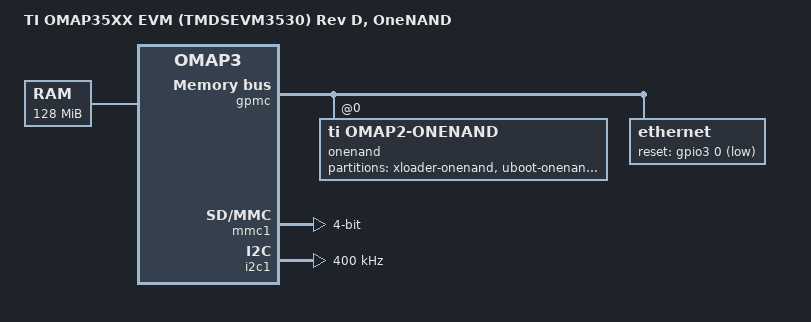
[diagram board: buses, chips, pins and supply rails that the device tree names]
// SPDX-License-Identifier: GPL-2.0-only
/*
 * TI OMAP35x EVM (TMDSEVM3530), as found on this unit:
 *   - main board OMAP-EVM-MB-1518 Rev D ("Gen 1": LAN9115 Ethernet,
 *     no on-board EHCI host port: that port lived on the multimedia
 *     daughter card until Rev E)
 *   - processor module O3530-PB-1518 Rev B, OMAP3530 ES2.1,
 *     Samsung K5W1G1GACM PoP: 128 MB OneNAND (GPMC CS0) + 128 MB mDDR
 *   - no multimedia daughter card, no WL1271 module, touchscreen removed
 *
 * Built on top of the mainline omap3-evm.dts, which describes the later
 * Rev E/G boards with NAND processor modules.
 */

#include "omap3-evm.dts"

/ {
	model = "TI OMAP35XX EVM (TMDSEVM3530) Rev D, OneNAND";

	chosen {
		stdout-path = "serial0:115200n8";
	};

	aliases {
		/* lets U-Boot pass its ethaddr (from the LAN9115 EEPROM) as local-mac-address */
		ethernet0 = "/ocp@68000000/gpmc@6e000000/ethernet@gpmc";
	};

	memory@80000000 {
		device_type = "memory";
		reg = <0x80000000 0x08000000>;	/* 128 MB (U-Boot fixes this up too) */
	};

	leds {
		ledb {
			/* on the underside of the board: blinks while the kernel runs */
			linux,default-trigger = "heartbeat";
		};
	};
};

/* ---- GPMC CS0: Samsung OneNAND instead of the NAND of later modules ---- */
&gpmc {
	ranges = <0 0 0x30000000 0x1000000>,	/* CS0: 16MB for OneNAND */
		 <5 0 0x2c000000 0x01000000>;	/* CS5: 16MB for LAN9115 */

	/delete-node/ nand@0,0;

	onenand@0,0 {
		#address-cells = <1>;
		#size-cells = <1>;
		compatible = "ti,omap2-onenand";
		reg = <0 0 0x20000>;		/* CS0, offset 0, IO size 128K */

		/* asynchronous timings from omap3430-sdp.dts (Samsung OneNAND, same SoC) */
		gpmc,device-width = <2>;
		gpmc,mux-add-data = <2>;
		gpmc,cs-on-ns = <0>;
		gpmc,cs-rd-off-ns = <84>;
		gpmc,cs-wr-off-ns = <72>;
		gpmc,adv-on-ns = <0>;
		gpmc,adv-rd-off-ns = <18>;
		gpmc,adv-wr-off-ns = <18>;
		gpmc,oe-on-ns = <30>;
		gpmc,oe-off-ns = <84>;
		gpmc,we-on-ns = <0>;
		gpmc,we-off-ns = <42>;
		gpmc,rd-cycle-ns = <108>;
		gpmc,wr-cycle-ns = <96>;
		gpmc,access-ns = <78>;
		gpmc,wr-data-mux-bus-ns = <30>;

		/*
		 * Layout used by the TI PSP 02.01.01.08 X-Loader/U-Boot still on
		 * the flash (board-omap3evm-flash.c). All read-only: the old
		 * firmware is the fallback boot when no SD card is inserted.
		 */
		partition@0 {
			label = "xloader-onenand";
			reg = <0x0 0x80000>;
			read-only;
		};
		partition@80000 {
			label = "uboot-onenand";
			reg = <0x80000 0x1e0000>;
			read-only;
		};
		partition@260000 {
			label = "params-onenand";
			reg = <0x260000 0x20000>;
			read-only;
		};
		partition@280000 {
			label = "linux-onenand";
			reg = <0x280000 0x500000>;
			read-only;
		};
		partition@780000 {
			label = "jffs2-onenand";
			reg = <0x780000 0x7880000>;
			read-only;
		};
	};
};

/*
 * ---- LAN9115 (Gen 1 main board) bus timings ----
 * omap-gpmc-smsc911x.dtsi is tuned for the LAN9220 of Rev E+ boards (155 ns cycles).
 * The LAN9115 needs a read/write cycle time of at least 165 ns (datasheet table 6-3);
 * out-of-spec access gave a silent smsc911x probe failure or a garbage MAC.
 * These are U-Boot's proven NET_GPMC_CONFIG2..5 tick counts for this board
 * (0x001e1e01 0x00080300 0x1c091c09 0x04181f1f), expressed in ns.
 *
 * The kernel converts ns to ticks with round-UP (L3 = 165 MHz -> 6060 ps/tick),
 * so each value is chosen just BELOW ticks * 6.06 ns. Rounding the other way
 * (188 ns for the 31-tick cycle) gave 32 ticks, overflowed the 5-bit
 * RDCYCLETIME/WRCYCLETIME fields and made gpmc refuse the child (-6, no eth0).
 * These values also give the same ticks at 166 MHz (6024 ps).
 */
&gpmc {
	ethernet@gpmc {
		gpmc,cs-on-ns = <6>;		/*  1 tick  */
		gpmc,cs-rd-off-ns = <180>;	/* 30 ticks */
		gpmc,cs-wr-off-ns = <180>;	/* 30 ticks */
		gpmc,adv-on-ns = <0>;		/*  0 ticks */
		gpmc,adv-rd-off-ns = <18>;	/*  3 ticks */
		gpmc,adv-wr-off-ns = <48>;	/*  8 ticks */
		gpmc,oe-on-ns = <54>;		/*  9 ticks */
		gpmc,oe-off-ns = <168>;		/* 28 ticks */
		gpmc,we-on-ns = <54>;		/*  9 ticks */
		gpmc,we-off-ns = <168>;		/* 28 ticks */
		gpmc,rd-cycle-ns = <186>;	/* 31 ticks = 188 ns > 165 ns min */
		gpmc,wr-cycle-ns = <186>;	/* 31 ticks */
		gpmc,access-ns = <144>;		/* 24 ticks */

		/*
		 * LAN9115 nRESET on Gen 1 boards: gpmc_wait2.gpio_64 (Gen 2: gpio_7),
		 * as in U-Boot's board/ti/omap3evm. smsc911x pulses it at probe
		 * (patches/linux/0003); U-Boot's own 1 us pulse is below spec.
		 */
		pinctrl-0 = <&smsc911x_pins &lan9115_rst_pins>;
		reset-gpios = <&gpio3 0 GPIO_ACTIVE_LOW>;	/* gpio_64 */
	};
};

/*
 * ---- On-die temperature sensor: disabled ----
 * ES2.1 parts have a non-trimmed bandgap sensor ("Temp not accurate"); a bogus
 * reading tripped the critical point 3.6 s after boot and powered the board off.
 */
&bandgap {
	status = "disabled";
};

&cpu_thermal {
	status = "disabled";
};

/* ---- USB host (EHCI) port 2: not present on Rev D without the daughter card ---- */
&usbhshost {
	status = "disabled";
};

/* no on-board EHCI PHY: its supply/reset GPIOs (gpio_22/gpio_21) are free */
&hsusb2_power {
	status = "disabled";
};

&hsusb2_phy {
	status = "disabled";
};

/* No WL1271 module: the WLAN supply regulator (gpio_150) is unused */
&wl12xx_vmmc {
	status = "disabled";
};

/* drop the Rev E+ USB host pinmux (frees mcspi1_cs3, McSPI2 and etk_d10..d15 pads) */
&omap3_pmx_core {
	/delete-property/ pinctrl-names;
	/delete-property/ pinctrl-0;

	led_test_pins: led-test-pins {
		pinctrl-single,pins = <
			OMAP3_CORE1_IOPAD(0x2190, PIN_OUTPUT | MUX_MODE4)	/* mcbsp1_dx.gpio_158, P7 A18 */
		>;
	};

	lan9115_rst_pins: lan9115-rst-pins {
		pinctrl-single,pins = <
			OMAP3_CORE1_IOPAD(0x20d0, PIN_OUTPUT_PULLUP | MUX_MODE4)	/* gpmc_wait2.gpio_64, LAN9115 nRESET */
		>;
	};
};

&omap3_pmx_core2 {
	/delete-property/ pinctrl-names;
	/delete-property/ pinctrl-0;
};

/* drop the Rev E+ hogs that route gpio_61 to the on-board USB host bus switch */
&gpio2 {
	/delete-node/ en-usb2-port-hog;
};

&twl_gpio {
	/delete-node/ en-on-board-gpio-61-hog;
};

/* ---- No WL1271: MMC2 unused (frees the MMC2 pads on P7 A41-A49) ---- */
&mmc2 {
	status = "disabled";
};

/* ---- SD slot is 4-bit on this board ---- */
&mmc1 {
	bus-width = <4>;
};

/*
 * ---- TWL4030 power scripts: none ----
 * The mainline EVM DT uses "ti,twl4030-power-omap3-evm", which loads TI's OMAP3
 * idle sleep/wakeup scripts into the TWL4030 (all resources incl. VIO, CLKEN and
 * HFCLKOUT go to sleep when the OMAP signals idle). On this unit (Rev D main board,
 * T4030-PW-1518 power module) the TWL4030 then stops answering on I2C1 a few
 * seconds after boot ("timeout waiting on XUDF bit", twl -ETIMEDOUT), which takes
 * the VMMC1/VSIM regulators, the SD card and the LED down with it.
 * Plain "ti,twl4030-power" loads no scripts but keeps power-off support.
 */
&twl_power {
	compatible = "ti,twl4030-power";
};

/*
 * I2C1 to the TWL4030 at 400 kHz instead of 2.6 MHz HS mode: slowed down while
 * chasing the failure above. Not the cause, but a long multi-connector route,
 * and fast mode is plenty for PMIC register access.
 */
&i2c1 {
	clock-frequency = <400000>;
};

/* ---- No multimedia daughter card: no TVP5146 on I2C3 ---- */
&i2c3 {
	/delete-node/ tvp5146@5c;
};

/* ---- Touchscreen removed from the LCD panel on this unit ---- */
&mcspi1 {
	tsc2046@0 {
		status = "disabled";
	};
};

/* ---- First GPIO test: gpio_158 (P7 A18) muxed as GPIO, see GPIO-LED-TEST.md ---- */
&gpio5 {
	pinctrl-names = "default";
	pinctrl-0 = <&led_test_pins>;
};
